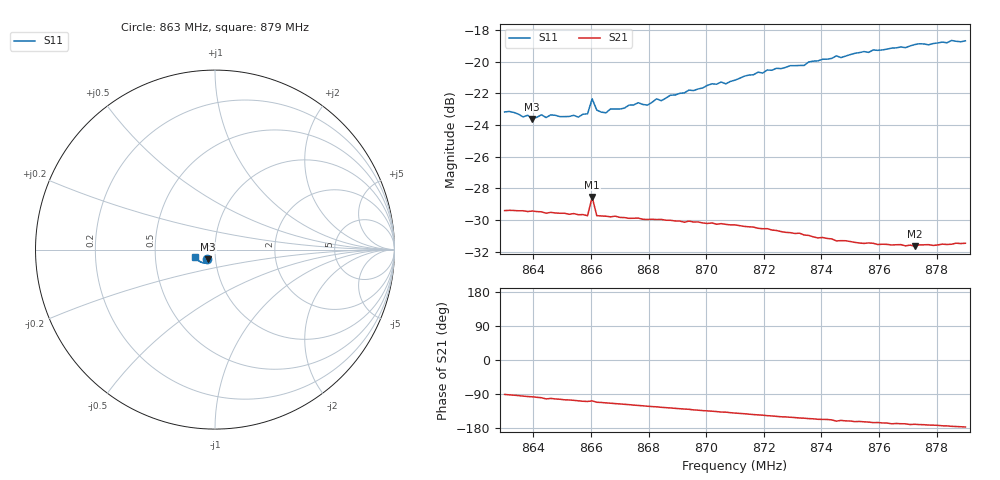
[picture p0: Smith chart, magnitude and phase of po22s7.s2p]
# HZ S RI R 50
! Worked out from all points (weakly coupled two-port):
!   101 points, 863 MHz to 879 MHz, reference 50 ohm
!   highest |S21| = -28.54 dB at 866.04 MHz (marker M1); lowest = -31.6 dB at 877.24 MHz (marker M2)
!   lowest |S11| = -23.6 dB at 863.96 MHz (marker M3), VSWR 1.14, Z = 46 - j4.93 ohm
!   |S11| at or under -10 dB: start of sweep to end of sweep
!   S12 and S22 are empty: the file has one direction only
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8.63e8  -0.0434 -0.0542  -0.000477 -0.0339  0 0  0 0
8.638e8  -0.0405 -0.0543  -0.00373 -0.0335  0 0  0 0
8.6396e8  -0.0388 -0.0533  -0.00416 -0.0335  0 0  0 0
8.6428e8  -0.0383 -0.0561  -0.00558 -0.0331  0 0  0 0
8.6444e8  -0.038 -0.0547  -0.00729 -0.0324  0 0  0 0
8.646e8  -0.0421 -0.0533  -0.00661 -0.0328  0 0  0 0
8.6556e8  -0.0354 -0.0567  -0.00999 -0.0313  0 0  0 0
8.6572e8  -0.0364 -0.0577  -0.0106 -0.0312  0 0  0 0
8.6588e8  -0.0359 -0.0583  -0.0109 -0.0308  0 0  0 0
8.6604e8  -0.0322 -0.0691  -0.0115 -0.0356  0 0  0 0
8.662e8  -0.0363 -0.0602  -0.012 -0.0304  0 0  0 0
8.6652e8  -0.0342 -0.0599  -0.0128 -0.0299  0 0  0 0
8.6764e8  -0.0369 -0.0643  -0.016 -0.0278  0 0  0 0
8.6796e8  -0.0359 -0.0634  -0.0168 -0.027  0 0  0 0
8.6828e8  -0.0374 -0.0665  -0.0176 -0.0265  0 0  0 0
8.6844e8  -0.0378 -0.0651  -0.0182 -0.0261  0 0  0 0
8.6876e8  -0.0385 -0.0682  -0.0188 -0.0254  0 0  0 0
8.71e8  -0.049 -0.0723  -0.0234 -0.0196  0 0  0 0
8.7372e8  -0.0678 -0.0739  -0.0254 -0.0117  0 0  0 0
8.7644e8  -0.0921 -0.0606  -0.0259 -0.00535  0 0  0 0
8.7724e8  -0.098 -0.0565  -0.0258 -0.0047  0 0  0 0
8.79e8  -0.1093 -0.0395  -0.0267 -0.0015  0 0  0 0
